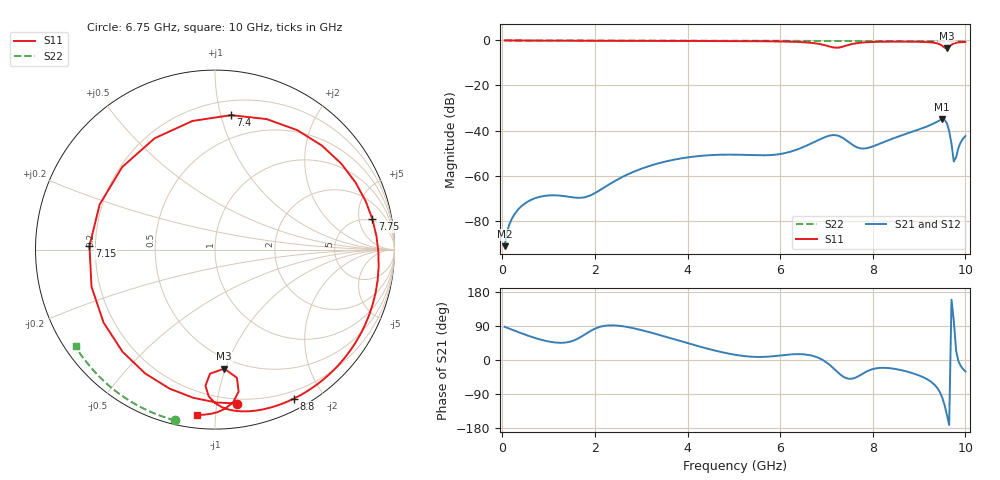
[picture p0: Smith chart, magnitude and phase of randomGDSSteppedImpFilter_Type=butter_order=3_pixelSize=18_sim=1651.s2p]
! freq	dB(S11)	phase(S11)	dB(S12)	phase(S12)
!  dB(S21)	phase(S21)	dB(S22)	phase(S22)
!S-par simulation data
#  GHz  S  DB  R 50
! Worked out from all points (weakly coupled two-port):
!   200 points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, 50 MHz to 10 GHz, reference 50 ohm
!   highest |S21| = -35.08 dB at 9.5 GHz (marker M1); lowest = -91.4 dB at 50 MHz (marker M2)
!   lowest |S11| = -3.5 dB at 9.6 GHz (marker M3), VSWR 4.98, Z = 20.8 - j49.5 ohm
!   |S11| at or under -10 dB: nowhere
!   |S22| runs from -0.5 to 0.0 dB; largest |S21 - S12| = 0
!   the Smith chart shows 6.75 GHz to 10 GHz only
!   S11 on the Smith chart (normalised r, x): 6.75 GHz: 0.17, -1.14; 7.15 GHz: 0.18, +0.01; 7.4 GHz: 0.31, +1.08; 7.75 GHz: 4.58, +7.71; 8.8 GHz: 0.12, -1.65; 10 GHz: 0.07, -0.90
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0.05  -0.00 -4.1  -91.38 87.6  -91.38 87.6  -0.00 -0.8
0.9  -0.09 -70.4  -69.08 51.5  -69.08 51.5  -0.02 -15.1
1.75  -0.14 -128.5  -69.77 64.8  -69.77 64.8  -0.04 -29.0
2.55  -0.17 -176.4  -61.10 90.0  -61.10 90.0  -0.05 -41.9
3.4  -0.20 136.1  -54.43 65.8  -54.43 65.8  -0.07 -55.1
4.25  -0.24 89.1  -51.34 35.9  -51.34 35.9  -0.10 -68.0
5.05  -0.29 44.3  -50.75 13.3  -50.75 13.3  -0.12 -79.6
6  -0.45 -12.7  -50.45 11.9  -50.45 11.9  -0.16 -92.9
6.7  -1.12 -74.8  -45.49 11.0  -45.49 11.0  -0.20 -102.4
6.75  -1.25 -81.8  -45.00 9.2  -45.00 9.2  -0.20 -103.1
6.95  -2.02 -119.4  -43.09 -2.2  -43.09 -2.2  -0.21 -105.8
7.15  -3.10 178.4  -42.04 -21.8  -42.04 -21.8  -0.23 -108.4
7.3  -3.03 118.5  -42.71 -38.5  -42.71 -38.5  -0.24 -110.4
7.4  -2.45 83.2  -43.93 -46.4  -43.93 -46.4  -0.24 -111.7
7.55  -1.61 44.2  -46.18 -49.3  -46.18 -49.3  -0.25 -113.7
7.75  -0.98 11.0  -47.98 -38.4  -47.98 -38.4  -0.27 -116.3
8.35  -0.53 -39.4  -44.21 -21.4  -44.21 -21.4  -0.32 -124.0
8.8  -0.54 -62.2  -40.92 -32.6  -40.92 -32.6  -0.36 -129.8
9.5  -2.37 -94.0  -35.08 -99.1  -35.08 -99.1  -0.43 -138.7
9.6  -3.54 -85.6  -36.75 -144.1  -36.75 -144.1  -0.44 -140.0
9.75  -1.35 -83.2  -53.77 103.4  -53.77 103.4  -0.45 -142.0
10  -0.67 -96.1  -42.48 -30.1  -42.48 -30.1  -0.48 -145.2
